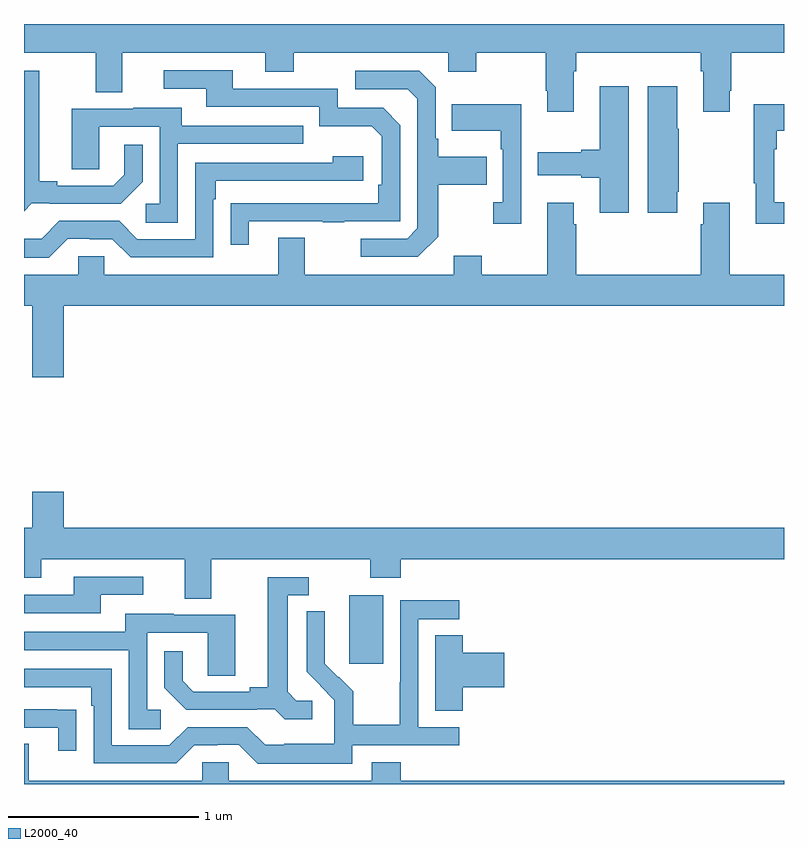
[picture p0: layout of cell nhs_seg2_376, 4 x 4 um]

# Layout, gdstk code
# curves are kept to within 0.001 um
import gdstk
lib = gdstk.Library(unit=1e-6, precision=1e-09)
def R(c, l, rs):  # rectangles x0, y0, x1, y1
    for r in rs: c.add(gdstk.rectangle(r[:2], r[2:], *l))
def P(c, l, *ps):  # polygons
    for p in ps: c.add(gdstk.Polygon(p, *l))
L2000_40 = (2000, 40)

nhs_seg2_376 = lib.new_cell('nhs_seg2_376')
R(nhs_seg2_376, L2000_40, [(130.712,632.433,130.891,632.794)])
P(nhs_seg2_376, L2000_40, [(131.893,635.552),(131.906,635.552),(131.906,635.648),(132.563,635.648),(132.563,635.552),(132.575,635.552),(132.575,635.337),(132.715,635.337),(132.715,635.449),(132.723,635.449),(132.723,635.648),(133,635.648),(133,635.8),(129,635.8),(129,635.648),(129.377,635.648),(129.377,635.44),(129.517,635.44),(129.517,635.648),(130.271,635.648),(130.271,635.549),(130.419,635.549),(130.419,635.648),(131.232,635.648),(131.232,635.549),(131.379,635.549),(131.379,635.648),(131.746,635.648),(131.746,635.449),(131.753,635.449),(131.753,635.337),(131.893,635.337)],
  [(130.183,634.761),(130.573,634.761),(130.573,634.756),(130.685,634.756),(130.685,634.761),(130.98,634.761),(130.98,635.268),(130.89,635.358),(130.65,635.358),(130.65,635.46),(130.099,635.46),(130.099,635.556),(129.735,635.556),(129.735,635.46),(129.959,635.46),(129.959,635.364),(130.554,635.364),(130.554,635.261),(130.831,635.261),(130.884,635.208),(130.884,634.954),(130.864,634.954),(130.864,634.857),(130.087,634.856),(130.087,634.638),(130.183,634.638)],
  [(129.042,634.857),(129.136,634.857),(129.136,634.854),(129.508,634.854),(129.624,634.97),(129.624,635.164),(129.527,635.164),(129.527,635.007),(129.47,634.95),(129.175,634.95),(129.175,634.973),(129.079,634.973),(129.079,635.553),(129,635.553),(129,634.815)],
  [(131.179,634.681),(131.179,634.954),(131.435,634.954),(131.435,635.101),(131.179,635.101),(131.179,635.197),(131.166,635.197),(131.166,635.466),(131.079,635.553),(130.743,635.553),(130.743,635.457),(131.019,635.457),(131.07,635.406),(131.07,634.725),(131.016,634.671),(130.773,634.671),(130.773,634.575),(131.073,634.575)],
  [(132.439,634.918),(132.447,634.918),(132.447,635.249),(132.439,635.249),(132.439,635.473),(132.284,635.473),(132.284,634.806),(132.439,634.806)],
  [(132.184,635.473),(132.029,635.473),(132.029,635.138),(131.933,635.138),(131.933,635.125),(131.703,635.125),(131.703,635.003),(131.933,635.003),(131.933,634.991),(132.029,634.991),(132.029,634.806),(132.184,634.806)],
  [(131.616,635.377),(131.251,635.377),(131.251,635.237),(131.508,635.237),(131.508,635.141),(131.52,635.141),(131.52,634.862),(131.469,634.862),(131.469,634.749),(131.616,634.749)],
  [(133,634.862),(132.948,634.862),(132.948,635.141),(132.961,635.141),(132.961,635.237),(133,635.237),(133,635.377),(132.84,635.377),(132.84,634.961),(132.851,634.961),(132.851,634.749),(133,634.749)],
  [(129.81,635.169),(130.469,635.169),(130.469,635.265),(129.829,635.265),(129.829,635.359),(129.575,635.359),(129.575,635.355),(129.251,635.355),(129.251,635.035),(129.396,635.035),(129.396,635.259),(129.714,635.259),(129.714,634.854),(129.642,634.854),(129.642,634.753),(129.81,634.753)],
  [(129.231,634.671),(129.347,634.671),(129.347,634.668),(129.465,634.668),(129.561,634.572),(129.996,634.572),(129.996,634.877),(130.009,634.877),(130.009,634.974),(130.786,634.974),(130.786,635.104),(130.625,635.104),(130.625,635.07),(129.9,635.07),(129.9,634.668),(129.597,634.668),(129.501,634.764),(129.186,634.764),(129.093,634.671),(129,634.671),(129,634.571),(129.131,634.571)],
  [(129.208,634.316),(133,634.316),(133,634.48),(132.715,634.48),(132.715,634.858),(132.575,634.858),(132.575,634.745),(132.563,634.745),(132.563,634.48),(131.906,634.48),(131.906,634.745),(131.893,634.745),(131.893,634.858),(131.753,634.858),(131.753,634.48),(131.409,634.48),(131.409,634.579),(131.261,634.579),(131.261,634.48),(130.477,634.48),(130.477,634.675),(130.337,634.675),(130.337,634.48),(129.423,634.48),(129.423,634.578),(129.285,634.578),(129.285,634.48),(129,634.48),(129,634.316),(129.044,634.316),(129.044,633.942),(129.208,633.942)],
  [(129.044,633.337),(129.044,633.148),(129,633.148),(129,632.885),(129.091,632.885),(129.091,632.984),(129.845,632.984),(129.845,632.776),(129.985,632.776),(129.985,632.984),(130.822,632.984),(130.822,632.885),(130.982,632.885),(130.982,632.984),(133,632.984),(133,633.148),(129.208,633.148),(129.208,633.337)],
  [(129.403,632.796),(129.628,632.796),(129.628,632.892),(129.263,632.892),(129.263,632.796),(129,632.796),(129,632.7),(129.403,632.7)],
  [(130.516,632.238),(130.434,632.238),(130.387,632.285),(130.387,632.793),(130.498,632.793),(130.498,632.889),(130.283,632.889),(130.283,632.309),(130.187,632.309),(130.187,632.286),(129.892,632.286),(129.835,632.343),(129.835,632.5),(129.738,632.5),(129.738,632.306),(129.854,632.19),(130.226,632.19),(130.226,632.193),(130.32,632.193),(130.372,632.141),(130.516,632.141)],
  [(130.728,632.004),(131.29,632.004),(131.29,632.1),(131.076,632.1),(131.076,632.667),(131.29,632.667),(131.29,632.766),(130.98,632.766),(130.98,632.336),(130.978,632.336),(130.978,632.113),(130.733,632.113),(130.733,632.287),(130.656,632.364),(130.653,632.361),(130.583,632.432),(130.584,632.708),(130.488,632.708),(130.488,632.39),(130.634,632.242),(130.634,632.145),(130.632,632.145),(130.632,632.011),(130.369,632.011),(130.369,632.007),(130.269,632.007),(130.176,632.1),(129.861,632.1),(129.765,632.004),(129.462,632.004),(129.462,632.406),(129,632.406),(129,632.31),(129.353,632.31),(129.353,632.213),(129.366,632.213),(129.366,631.908),(129.801,631.908),(129.897,632.004),(130.016,632.004),(130.016,632.007),(130.131,632.007),(130.231,631.907),(130.728,631.907)],
  [(129.721,632.19),(129.648,632.19),(129.648,632.595),(129.966,632.595),(129.966,632.371),(130.111,632.371),(130.111,632.691),(129.787,632.691),(129.787,632.695),(129.533,632.695),(129.533,632.601),(129,632.601),(129,632.505),(129.552,632.505),(129.552,632.089),(129.721,632.089)],
  [(131.309,632.309),(131.527,632.309),(131.527,632.492),(131.309,632.492),(131.309,632.582),(131.165,632.582),(131.165,632.185),(131.309,632.185)],
  [(129.275,632.192),(129.173,632.192),(129.173,632.193),(129,632.193),(129,632.097),(129.179,632.097),(129.179,631.974),(129.275,631.974)],
  [(133,631.816),(130.982,631.816),(130.982,631.915),(130.829,631.915),(130.829,631.816),(130.077,631.816),(130.077,631.914),(129.939,631.914),(129.939,631.816),(129.025,631.816),(129.025,632.011),(129,632.011),(129,631.8),(133,631.8)])

lib.write_gds('nhs_seg2_376.gds')
